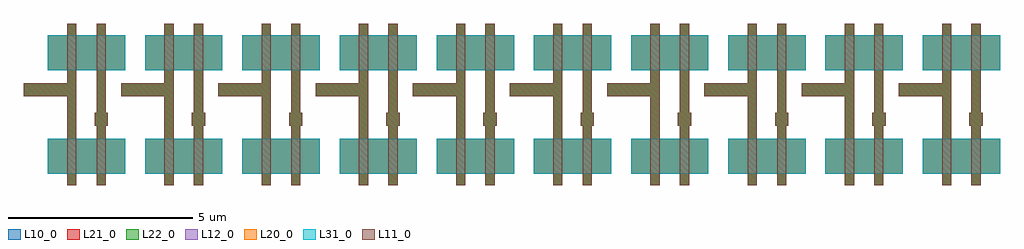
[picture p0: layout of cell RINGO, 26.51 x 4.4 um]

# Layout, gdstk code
import gdstk
lib = gdstk.Library(unit=1e-6, precision=1e-09)
def R(c, l, rs):  # rectangles x0, y0, x1, y1
    for r in rs: c.add(gdstk.rectangle(r[:2], r[2:], *l))
L10_0 = (10, 0)
L11_0 = (11, 0)
L12_0 = (12, 0)
L20_0 = (20, 0)
L21_0 = (21, 0)
L22_0 = (22, 0)
L31_0 = (31, 0)

trans = lib.new_cell('TRANS')
R(trans, L10_0, [(-0.125,-0.8,0.125,0.8), (-0.65,-0.475,0.65,0.475)])
R(trans, L11_0, [(-0.125,-0.8,0.125,0.8)])
R(trans, L12_0, [(-0.65,-0.475,0.65,0.475)])
R(trans, L20_0, [(-0.65,-0.475,0.65,0.475)])
R(trans, L21_0, [(-0.125,-0.8,0.125,0.8), (-0.65,-0.475,0.65,0.475)])
R(trans, L22_0, [(-0.125,-0.8,0.125,0.8), (-0.65,-0.475,0.65,0.475)])
R(trans, L31_0, [(-0.65,-0.475,0.65,0.475)])

inv2 = lib.new_cell('INV2')
R(inv2, L10_0, [(-0.525,-0.25,-0.275,2.25), (0.275,-0.25,0.525,2.25), (0.22,0.82,0.58,1.18), (-1.7,1.62,-0.4,1.98)])
R(inv2, L11_0, [(-0.525,-0.25,-0.275,2.25), (0.275,-0.25,0.525,2.25), (0.22,0.82,0.58,1.18), (-1.7,1.62,-0.4,1.98)])
R(inv2, L21_0, [(-0.525,-0.25,-0.275,2.25), (0.275,-0.25,0.525,2.25), (0.22,0.82,0.58,1.18), (-1.7,1.62,-0.4,1.98)])
R(inv2, L22_0, [(-0.525,-0.25,-0.275,2.25), (0.275,-0.25,0.525,2.25), (0.22,0.82,0.58,1.18), (-1.7,1.62,-0.4,1.98)])
inv2.add(gdstk.Reference(trans, (-0.4,0)))
inv2.add(gdstk.Reference(trans, (-0.4,2.8)))
inv2.add(gdstk.Reference(trans, (0.4,0), x_reflection=True))
inv2.add(gdstk.Reference(trans, (0.4,2.8), x_reflection=True))

ringo = lib.new_cell('RINGO')
ringo.add(gdstk.Reference(inv2, (0,0)))
ringo.add(gdstk.Reference(inv2, (2.64,0)))
ringo.add(gdstk.Reference(inv2, (5.28,0)))
ringo.add(gdstk.Reference(inv2, (7.92,0)))
ringo.add(gdstk.Reference(inv2, (10.56,0)))
ringo.add(gdstk.Reference(inv2, (13.2,0)))
ringo.add(gdstk.Reference(inv2, (15.84,0)))
ringo.add(gdstk.Reference(inv2, (18.48,0)))
ringo.add(gdstk.Reference(inv2, (21.12,0)))
ringo.add(gdstk.Reference(inv2, (23.76,0)))

lib.write_gds('RINGO.gds')
